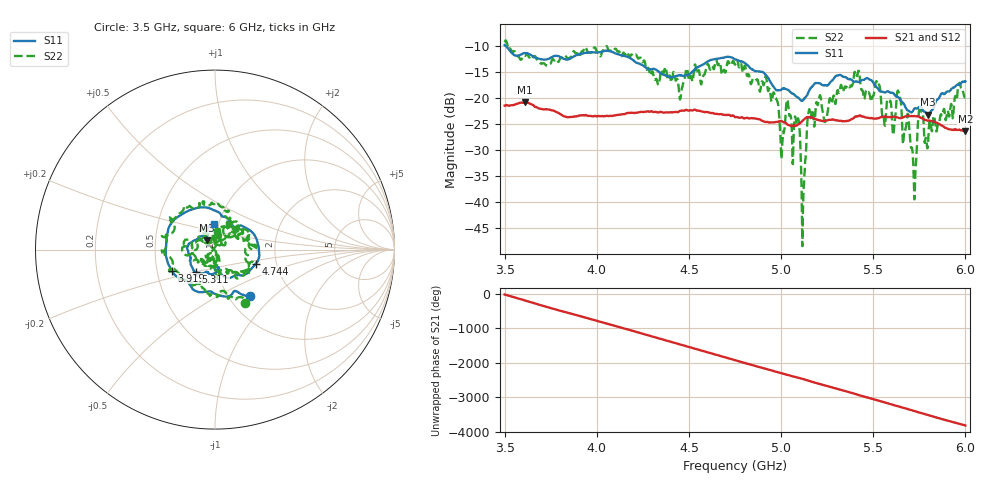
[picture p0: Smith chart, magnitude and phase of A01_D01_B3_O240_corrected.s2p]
! Created with skrf 1.9.0 (http://scikit-rf.org).
# Hz S RI R 50.0
!freq ReS11 ImS11 ReS21 ImS21 ReS12 ImS12 ReS22 ImS22
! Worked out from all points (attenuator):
!   1601 points, 3.5 GHz to 6 GHz, reference 50 ohm
!   highest |S21| = -20.83 dB at 3.611 GHz (marker M1); lowest = -26.3 dB at 6 GHz (marker M2)
!   lowest |S11| = -23.2 dB at 5.797 GHz (marker M3), VSWR 1.15, Z = 45.4 + j4.78 ohm
!   |S11| at or under -10 dB: 3.506 GHz to end of sweep
!   |S22| runs from -48.4 to -8.9 dB; largest |S21 - S12| = 0.0014
!   S11 on the Smith chart (normalised r, x): 3.5 GHz: 1.25, -0.72; 3.919 GHz: 0.60, -0.15; 4.744 GHz: 1.56, -0.26; 5.311 GHz: 0.78, -0.20; 6 GHz: 0.95, +0.28
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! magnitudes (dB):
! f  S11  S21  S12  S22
! 3.5 GHz  -9.8  -21.5  -21.5  -9.3
! 3.611 GHz  -11.3  -20.8  -20.9  -11.9
! 3.917 GHz  -11.5  -23.3  -23.3  -11.1
! 3.919 GHz  -11.5  -23.3  -23.3  -11.1
! 4.334 GHz  -14.9  -22.8  -22.7  -17.5
! 4.744 GHz  -12.4  -23.4  -23.4  -13.0
! 4.75 GHz  -12.5  -23.6  -23.6  -13.6
! 4.969 GHz  -18.3  -24.6  -24.6  -20.0
! 5.006 GHz  -18.2  -24.5  -24.5  -28.8
! 5.036 GHz  -18.4  -25.1  -25.1  -20.5
! 5.086 GHz  -19.8  -25.2  -25.2  -24.9
! 5.12 GHz  -20.4  -24.2  -24.2  -39.8
! 5.145 GHz  -19.1  -23.6  -23.6  -23.5
! 5.167 GHz  -17.8  -23.7  -23.7  -22.4
! 5.311 GHz  -15.6  -24.3  -24.3  -18.8
! 5.584 GHz  -18.8  -23.6  -23.6  -20.5
! 5.611 GHz  -19.1  -23.5  -23.5  -26.6
! 5.641 GHz  -20.0  -23.8  -23.8  -19.2
! 5.722 GHz  -22.1  -23.4  -23.4  -37.4
! 5.756 GHz  -21.7  -23.7  -23.7  -22.8
! 5.797 GHz  -23.2  -24.3  -24.3  -29.2
! 6 GHz  -16.8  -26.3  -26.3  -19.9
